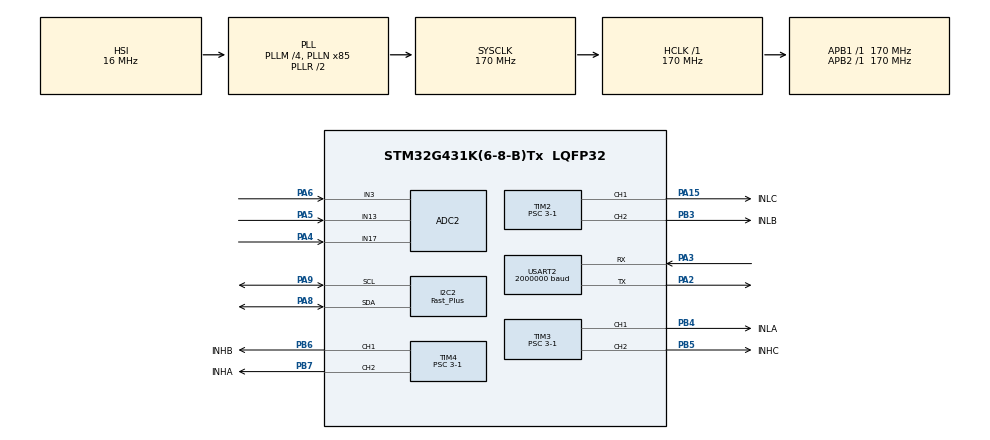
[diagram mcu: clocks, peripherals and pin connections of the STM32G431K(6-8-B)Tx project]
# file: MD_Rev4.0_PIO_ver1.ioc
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ADC1.Channel-4\#ChannelRegularConversion=ADC_CHANNEL_VREFINT
ADC1.ContinuousConvMode=ENABLE
ADC1.DMAContinuousRequests=ENABLE
ADC1.NbrOfConversionFlag=1
ADC1.OffsetNumber-4\#ChannelRegularConversion=ADC_OFFSET_NONE
ADC1.Rank-4\#ChannelRegularConversion=1
ADC1.SamplingTime-4\#ChannelRegularConversion=ADC_SAMPLETIME_47CYCLES_5
ADC1.master=1
ADC2.Channel-2\#ChannelRegularConversion=ADC_CHANNEL_17
ADC2.Channel-3\#ChannelRegularConversion=ADC_CHANNEL_13
ADC2.Channel-4\#ChannelRegularConversion=ADC_CHANNEL_3
ADC2.ContinuousConvMode=DISABLE
ADC2.DMAContinuousRequests=ENABLE
ADC2.DiscontinuousConvMode=DISABLE
ADC2.EOCSelection=ADC_EOC_SEQ_CONV
ADC2.ExternalTrigConv=ADC_EXTERNALTRIG_T3_TRGO
ADC2.NbrOfConversion=3
ADC2.NbrOfConversionFlag=1
ADC2.OffsetNumber-2\#ChannelRegularConversion=ADC_OFFSET_NONE
ADC2.OffsetNumber-3\#ChannelRegularConversion=ADC_OFFSET_NONE
ADC2.OffsetNumber-4\#ChannelRegularConversion=ADC_OFFSET_NONE
ADC2.OversamplingMode=ENABLE
ADC2.Rank-2\#ChannelRegularConversion=1
ADC2.Rank-3\#ChannelRegularConversion=2
ADC2.Rank-4\#ChannelRegularConversion=3
ADC2.Ratio=ADC_OVERSAMPLING_RATIO_4
ADC2.SamplingTime-2\#ChannelRegularConversion=ADC_SAMPLETIME_47CYCLES_5
ADC2.SamplingTime-3\#ChannelRegularConversion=ADC_SAMPLETIME_24CYCLES_5
ADC2.SamplingTime-4\#ChannelRegularConversion=ADC_SAMPLETIME_47CYCLES_5
Dma.ADC1.5.Direction=DMA_PERIPH_TO_MEMORY
Dma.ADC1.5.EventEnable=DISABLE
Dma.ADC1.5.Instance=DMA1_Channel2
Dma.ADC1.5.MemDataAlignment=DMA_MDATAALIGN_HALFWORD
Dma.ADC1.5.MemInc=DMA_MINC_ENABLE
Dma.ADC1.5.Mode=DMA_CIRCULAR
Dma.ADC1.5.PeriphDataAlignment=DMA_PDATAALIGN_HALFWORD
Dma.ADC1.5.PeriphInc=DMA_PINC_DISABLE
Dma.ADC1.5.Polarity=HAL_DMAMUX_REQ_GEN_RISING
Dma.ADC1.5.Priority=DMA_PRIORITY_LOW
Dma.ADC1.5.RequestNumber=1
Dma.ADC1.5.SignalID=NONE
Dma.ADC1.5.SyncEnable=DISABLE
Dma.ADC1.5.SyncPolarity=HAL_DMAMUX_SYNC_NO_EVENT
Dma.ADC1.5.SyncRequestNumber=1
Dma.ADC1.5.SyncSignalID=NONE
Dma.ADC2.0.Direction=DMA_PERIPH_TO_MEMORY
Dma.ADC2.0.EventEnable=DISABLE
Dma.ADC2.0.Instance=DMA1_Channel1
Dma.ADC2.0.MemDataAlignment=DMA_MDATAALIGN_HALFWORD
Dma.ADC2.0.MemInc=DMA_MINC_ENABLE
Dma.ADC2.0.Mode=DMA_CIRCULAR
Dma.ADC2.0.PeriphDataAlignment=DMA_PDATAALIGN_HALFWORD
Dma.ADC2.0.PeriphInc=DMA_PINC_DISABLE
Dma.ADC2.0.Polarity=HAL_DMAMUX_REQ_GEN_RISING
Dma.ADC2.0.Priority=DMA_PRIORITY_LOW
Dma.ADC2.0.RequestNumber=1
Dma.ADC2.0.SignalID=NONE
Dma.ADC2.0.SyncEnable=DISABLE
Dma.ADC2.0.SyncPolarity=HAL_DMAMUX_SYNC_NO_EVENT
Dma.ADC2.0.SyncRequestNumber=1
Dma.ADC2.0.SyncSignalID=NONE
Dma.I2C2_RX.1.Direction=DMA_PERIPH_TO_MEMORY
Dma.I2C2_RX.1.EventEnable=DISABLE
Dma.I2C2_RX.1.Instance=DMA1_Channel3
Dma.I2C2_RX.1.MemDataAlignment=DMA_MDATAALIGN_BYTE
Dma.I2C2_RX.1.MemInc=DMA_MINC_ENABLE
Dma.I2C2_RX.1.Mode=DMA_NORMAL
Dma.I2C2_RX.1.PeriphDataAlignment=DMA_PDATAALIGN_BYTE
Dma.I2C2_RX.1.PeriphInc=DMA_PINC_DISABLE
Dma.I2C2_RX.1.Polarity=HAL_DMAMUX_REQ_GEN_RISING
Dma.I2C2_RX.1.Priority=DMA_PRIORITY_LOW
Dma.I2C2_RX.1.RequestNumber=1
Dma.I2C2_RX.1.SignalID=NONE
Dma.I2C2_RX.1.SyncEnable=DISABLE
Dma.I2C2_RX.1.SyncPolarity=HAL_DMAMUX_SYNC_NO_EVENT
Dma.I2C2_RX.1.SyncRequestNumber=1
Dma.I2C2_RX.1.SyncSignalID=NONE
Dma.I2C2_TX.2.Direction=DMA_MEMORY_TO_PERIPH
Dma.I2C2_TX.2.EventEnable=DISABLE
Dma.I2C2_TX.2.Instance=DMA1_Channel4
Dma.I2C2_TX.2.MemDataAlignment=DMA_MDATAALIGN_BYTE
Dma.I2C2_TX.2.MemInc=DMA_MINC_ENABLE
Dma.I2C2_TX.2.Mode=DMA_NORMAL
Dma.I2C2_TX.2.PeriphDataAlignment=DMA_PDATAALIGN_BYTE
Dma.I2C2_TX.2.PeriphInc=DMA_PINC_DISABLE
Dma.I2C2_TX.2.Polarity=HAL_DMAMUX_REQ_GEN_RISING
Dma.I2C2_TX.2.Priority=DMA_PRIORITY_LOW
Dma.I2C2_TX.2.RequestNumber=1
Dma.I2C2_TX.2.SignalID=NONE
Dma.I2C2_TX.2.SyncEnable=DISABLE
Dma.I2C2_TX.2.SyncPolarity=HAL_DMAMUX_SYNC_NO_EVENT
Dma.I2C2_TX.2.SyncRequestNumber=1
Dma.I2C2_TX.2.SyncSignalID=NONE
Dma.Request0=ADC2
Dma.Request1=I2C2_RX
Dma.Request2=I2C2_TX
Dma.Request3=USART2_TX
Dma.Request4=USART2_RX
Dma.Request5=ADC1
Dma.USART2_RX.4.Direction=DMA_PERIPH_TO_MEMORY
Dma.USART2_RX.4.EventEnable=DISABLE
Dma.USART2_RX.4.Instance=DMA1_Channel6
Dma.USART2_RX.4.MemDataAlignment=DMA_MDATAALIGN_BYTE
Dma.USART2_RX.4.MemInc=DMA_MINC_ENABLE
Dma.USART2_RX.4.Mode=DMA_NORMAL
Dma.USART2_RX.4.PeriphDataAlignment=DMA_PDATAALIGN_BYTE
Dma.USART2_RX.4.PeriphInc=DMA_PINC_DISABLE
Dma.USART2_RX.4.Polarity=HAL_DMAMUX_REQ_GEN_RISING
Dma.USART2_RX.4.Priority=DMA_PRIORITY_LOW
Dma.USART2_RX.4.RequestNumber=1
Dma.USART2_RX.4.SignalID=NONE
Dma.USART2_RX.4.SyncEnable=DISABLE
Dma.USART2_RX.4.SyncPolarity=HAL_DMAMUX_SYNC_NO_EVENT
Dma.USART2_RX.4.SyncRequestNumber=1
Dma.USART2_RX.4.SyncSignalID=NONE
Dma.USART2_TX.3.Direction=DMA_MEMORY_TO_PERIPH
Dma.USART2_TX.3.EventEnable=DISABLE
Dma.USART2_TX.3.Instance=DMA1_Channel5
Dma.USART2_TX.3.MemDataAlignment=DMA_MDATAALIGN_BYTE
Dma.USART2_TX.3.MemInc=DMA_MINC_ENABLE
Dma.USART2_TX.3.Mode=DMA_NORMAL
Dma.USART2_TX.3.PeriphDataAlignment=DMA_PDATAALIGN_BYTE
Dma.USART2_TX.3.PeriphInc=DMA_PINC_DISABLE
Dma.USART2_TX.3.Polarity=HAL_DMAMUX_REQ_GEN_RISING
Dma.USART2_TX.3.Priority=DMA_PRIORITY_LOW
Dma.USART2_TX.3.RequestNumber=1
Dma.USART2_TX.3.SignalID=NONE
Dma.USART2_TX.3.SyncEnable=DISABLE
Dma.USART2_TX.3.SyncPolarity=HAL_DMAMUX_SYNC_NO_EVENT
Dma.USART2_TX.3.SyncRequestNumber=1
Dma.USART2_TX.3.SyncSignalID=NONE
I2C2.I2C_Speed_Mode=I2C_Fast_Plus
I2C2.Timing=0x4052060F
Mcu.Family=STM32G4
Mcu.Name=STM32G431K(6-8-B)Tx
Mcu.Package=LQFP32
NVIC.ADC1_2_IRQn=true\:0\:0\:false\:false\:true\:true\:true\:true
NVIC.DMA1_Channel1_IRQn=true\:0\:0\:false\:false\:true\:false\:true\:true
NVIC.DMA1_Channel2_IRQn=true\:0\:0\:false\:false\:true\:false\:true\:true
NVIC.DMA1_Channel3_IRQn=true\:0\:0\:false\:false\:true\:false\:true\:true
NVIC.DMA1_Channel4_IRQn=true\:0\:0\:false\:false\:true\:false\:true\:true
NVIC.DMA1_Channel5_IRQn=true\:0\:0\:false\:false\:true\:false\:true\:true
NVIC.DMA1_Channel6_IRQn=true\:0\:0\:false\:false\:true\:false\:true\:true
NVIC.PriorityGroup=NVIC_PRIORITYGROUP_4
NVIC.TIM1_BRK_TIM15_IRQn=true\:0\:0\:false\:false\:true\:true\:true\:true
NVIC.TIM1_TRG_COM_TIM17_IRQn=true\:0\:0\:false\:false\:true\:true\:true\:true
NVIC.TIM1_UP_TIM16_IRQn=true\:0\:0\:false\:false\:true\:true\:true\:true
NVIC.USART2_IRQn=true\:0\:0\:false\:false\:true\:true\:true\:true
PA15.GPIO_Label=INLC
PA15.Signal=S_TIM2_CH1
PA2.Mode=Asynchronous
PA2.Signal=USART2_TX
PA3.Mode=Asynchronous
PA3.Signal=USART2_RX
PA4.Mode=IN17-Single-Ended
PA4.Signal=ADC2_IN17
PA5.Mode=IN13-Single-Ended
PA5.Signal=ADC2_IN13
PA6.Mode=IN3-Single-Ended
PA6.Signal=ADC2_IN3
PA8.Mode=I2C
PA8.Signal=I2C2_SDA
PA9.Mode=I2C
PA9.Signal=I2C2_SCL
PB0.Signal=ADC1_IN15
PB3.GPIO_Label=INLB
PB3.Signal=S_TIM2_CH2
PB4.GPIO_Label=INLA
PB4.Signal=S_TIM3_CH1
PB5.GPIO_Label=INHC
PB5.Signal=S_TIM3_CH2
PB6.GPIO_Label=INHB
PB6.Signal=S_TIM4_CH1
PB7.GPIO_Label=INHA
PB7.Signal=S_TIM4_CH2
ProjectManager.HeapSize=0x200
ProjectManager.StackSize=0x400
ProjectManager.TargetToolchain=CMake
RCC.ADC12Freq_Value=170000000
RCC.AHBFreq_Value=170000000
RCC.APB1Freq_Value=170000000
RCC.APB1TimFreq_Value=170000000
RCC.APB2Freq_Value=170000000
RCC.APB2TimFreq_Value=170000000
RCC.CortexFreq_Value=170000000
RCC.EXTERNAL_CLOCK_VALUE=12288000
RCC.HCLKFreq_Value=170000000
RCC.HSE_VALUE=8000000
RCC.HSI48_VALUE=48000000
RCC.HSI_VALUE=16000000
RCC.LSE_VALUE=32768
RCC.PLLM=RCC_PLLM_DIV4
RCC.PLLN=85
RCC.SYSCLKFreq_VALUE=170000000
RCC.SYSCLKSource=RCC_SYSCLKSOURCE_PLLCLK
RCC.USBFreq_Value=170000000
RCC.VCOOutputFreq_Value=340000000
SH.S_TIM2_CH1.0=TIM2_CH1,PWM Generation1 CH1
SH.S_TIM2_CH2.0=TIM2_CH2,PWM Generation2 CH2
SH.S_TIM3_CH1.0=TIM3_CH1,PWM Generation1 CH1
SH.S_TIM3_CH2.0=TIM3_CH2,PWM Generation2 CH2
SH.S_TIM4_CH1.0=TIM4_CH1,PWM Generation1 CH1
SH.S_TIM4_CH2.0=TIM4_CH2,PWM Generation2 CH2
TIM15.PeriodNoDither=10-1
TIM15.Prescaler=170-1
TIM16.PeriodNoDither=1000-1
TIM16.Prescaler=170-1
TIM17.PeriodNoDither=5000-1
TIM17.Prescaler=34000-1
TIM2.Channel-PWM\ Generation1\ CH1=TIM_CHANNEL_1
TIM2.Channel-PWM\ Generation2\ CH2=TIM_CHANNEL_2
TIM2.CounterMode=TIM_COUNTERMODE_CENTERALIGNED1
TIM2.OCMode_PWM-PWM\ Generation1\ CH1=TIM_OCMODE_PWM2
TIM2.OCMode_PWM-PWM\ Generation2\ CH2=TIM_OCMODE_PWM2
TIM2.PeriodNoDither=1000-1
TIM2.Prescaler=3-1
TIM2.TIM_MasterOutputTrigger=TIM_TRGO_ENABLE
TIM2.TIM_MasterSlaveMode=TIM_MASTERSLAVEMODE_ENABLE
TIM3.Channel-PWM\ Generation1\ CH1=TIM_CHANNEL_1
TIM3.Channel-PWM\ Generation2\ CH2=TIM_CHANNEL_2
TIM3.CounterMode=TIM_COUNTERMODE_CENTERALIGNED1
TIM3.OCMode_PWM-PWM\ Generation1\ CH1=TIM_OCMODE_PWM2
TIM3.OCMode_PWM-PWM\ Generation2\ CH2=TIM_OCMODE_PWM1
TIM3.PeriodNoDither=1000-1
TIM3.Prescaler=3-1
TIM3.TIM_MasterOutputTrigger=TIM_TRGO_UPDATE
TIM3.TIM_MasterSlaveMode=TIM_MASTERSLAVEMODE_DISABLE
TIM4.Channel-PWM\ Generation1\ CH1=TIM_CHANNEL_1
TIM4.Channel-PWM\ Generation2\ CH2=TIM_CHANNEL_2
TIM4.CounterMode=TIM_COUNTERMODE_CENTERALIGNED1
TIM4.OCMode_PWM-PWM\ Generation1\ CH1=TIM_OCMODE_PWM1
TIM4.OCMode_PWM-PWM\ Generation2\ CH2=TIM_OCMODE_PWM1
TIM4.PeriodNoDither=1000-1
TIM4.Prescaler=3-1
USART2.BaudRate=2000000
USART2.VirtualMode-Asynchronous=VM_ASYNC
VP_ADC1_Vref_Input.Mode=IN-Vrefint
VP_SYS_VS_DBSignals.Mode=DisableDeadBatterySignals
VP_TIM15_VS_ClockSourceINT.Mode=Internal
VP_TIM16_VS_ClockSourceINT.Mode=Enable_Timer
VP_TIM17_VS_ClockSourceINT.Mode=Enable_Timer
VP_TIM2_VS_ClockSourceINT.Mode=Internal
VP_TIM3_VS_ClockSourceINT.Mode=Internal
VP_TIM3_VS_ClockSourceITR.Mode=TriggerSource_ITR1
VP_TIM3_VS_ControllerModeTrigger.Mode=Trigger Mode
VP_TIM4_VS_ClockSourceINT.Mode=Internal
VP_TIM4_VS_ClockSourceITR.Mode=TriggerSource_ITR1
VP_TIM4_VS_ControllerModeTrigger.Mode=Trigger Mode
board=custom

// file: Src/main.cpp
/* USER CODE BEGIN Header */
/**
 ******************************************************************************
 * @file           : main.c
 * @brief          : Main program body
 ******************************************************************************
 * @attention
 *
 * Copyright (c) 2025 STMicroelectronics.
 * All rights reserved.
 *
 * This software is licensed under terms that can be found in the LICENSE file
 * in the root directory of this software component.
 * If no LICENSE file comes with this software, it is provided AS-IS.
 *
 ******************************************************************************
 */
/* USER CODE END Header */
#include "main.hpp"

#include "adc.h"
#include "dma.h"
#include "gpio.h"
#include "i2c.h"
#include "tim.h"
#include "usart.h"

/* USER CODE BEGIN Includes */
#include <stdio.h>

#include <cmath>

#include "motor.hpp"
/* USER CODE END Includes */

void SystemClock_Config(void);

/* USER CODE BEGIN 0 */
asm(".global _printf_float");

Motor motor;

uint32_t micros = 0;
/* USER CODE END 0 */

int main(void) {

    /* MCU Configuration--------------------------------------------------------*/

    /* Reset of all peripherals, Initializes the Flash interface and the Systick. */
    HAL_Init();

    /* USER CODE BEGIN Init */
    setbuf(stdout, NULL);
    /* USER CODE END Init */

    /* Configure the system clock */
    SystemClock_Config();

    /* Initialize all configured peripherals */
    MX_GPIO_Init();
    MX_DMA_Init();
    MX_TIM2_Init();
    MX_TIM3_Init();
    MX_TIM4_Init();
    MX_TIM15_Init();
    MX_TIM16_Init();
    MX_TIM17_Init();
    MX_ADC1_Init();
    MX_ADC2_Init();
    MX_USART2_UART_Init();
    MX_I2C2_Init();
    /* USER CODE BEGIN 2 */
    motor.initAll();

    HAL_TIM_Base_Start_IT(&htim15);
    HAL_TIM_Base_Start_IT(&htim16);
    HAL_TIM_Base_Start_IT(&htim17);
    /* USER CODE END 2 */

    /* Infinite loop */
    while (1) {

    }
}

void SystemClock_Config(void) {
    RCC_OscInitTypeDef RCC_OscInitStruct = {0};
    RCC_ClkInitTypeDef RCC_ClkInitStruct = {0};

    /** Configure the main internal regulator output voltage
     */
    HAL_PWREx_ControlVoltageScaling(PWR_REGULATOR_VOLTAGE_SCALE1_BOOST);

    /** Initializes the RCC Oscillators according to the specified parameters
     * in the RCC_OscInitTypeDef structure.
     */
    RCC_OscInitStruct.OscillatorType = RCC_OSCILLATORTYPE_HSI;
    RCC_OscInitStruct.HSIState = RCC_HSI_ON;
    RCC_OscInitStruct.HSICalibrationValue = RCC_HSICALIBRATION_DEFAULT;
    RCC_OscInitStruct.PLL.PLLState = RCC_PLL_ON;
    RCC_OscInitStruct.PLL.PLLSource = RCC_PLLSOURCE_HSI;
    RCC_OscInitStruct.PLL.PLLM = RCC_PLLM_DIV4;
    RCC_OscInitStruct.PLL.PLLN = 85;
    RCC_OscInitStruct.PLL.PLLP = RCC_PLLP_DIV2;
    RCC_OscInitStruct.PLL.PLLQ = RCC_PLLQ_DIV2;
    RCC_OscInitStruct.PLL.PLLR = RCC_PLLR_DIV2;
    if (HAL_RCC_OscConfig(&RCC_OscInitStruct) != HAL_OK) {
        Error_Handler();
    }

    /** Initializes the CPU, AHB and APB buses clocks
     */
    RCC_ClkInitStruct.ClockType = RCC_CLOCKTYPE_HCLK | RCC_CLOCKTYPE_SYSCLK | RCC_CLOCKTYPE_PCLK1 | RCC_CLOCKTYPE_PCLK2;
    RCC_ClkInitStruct.SYSCLKSource = RCC_SYSCLKSOURCE_PLLCLK;
    RCC_ClkInitStruct.AHBCLKDivider = RCC_SYSCLK_DIV1;
    RCC_ClkInitStruct.APB1CLKDivider = RCC_HCLK_DIV1;
    RCC_ClkInitStruct.APB2CLKDivider = RCC_HCLK_DIV1;

    if (HAL_RCC_ClockConfig(&RCC_ClkInitStruct, FLASH_LATENCY_4) != HAL_OK) {
        Error_Handler();
    }
}

/* USER CODE BEGIN 4 */
void HAL_TIM_PeriodElapsedCallback(TIM_HandleTypeDef *htim) {
    if (htim->Instance == TIM15) {  // 100us
        motor.motorControlUpdate();
        micros += 100;

        if (micros >= 1000) {
            micros = 0;
        }
    }
    if (htim->Instance == TIM16) {  // 1ms
    }
    if (htim->Instance == TIM17) {  // 1s
        // char msg[100];
        // uint8_t len = sprintf(msg, "Hello, world!\n");
        // HAL_UART_Transmit_DMA(&huart2, (uint8_t *)msg, len);
    }
}
/* USER CODE END 4 */

void Error_Handler(void) {
    __disable_irq();
    while (1) {
    }
}
